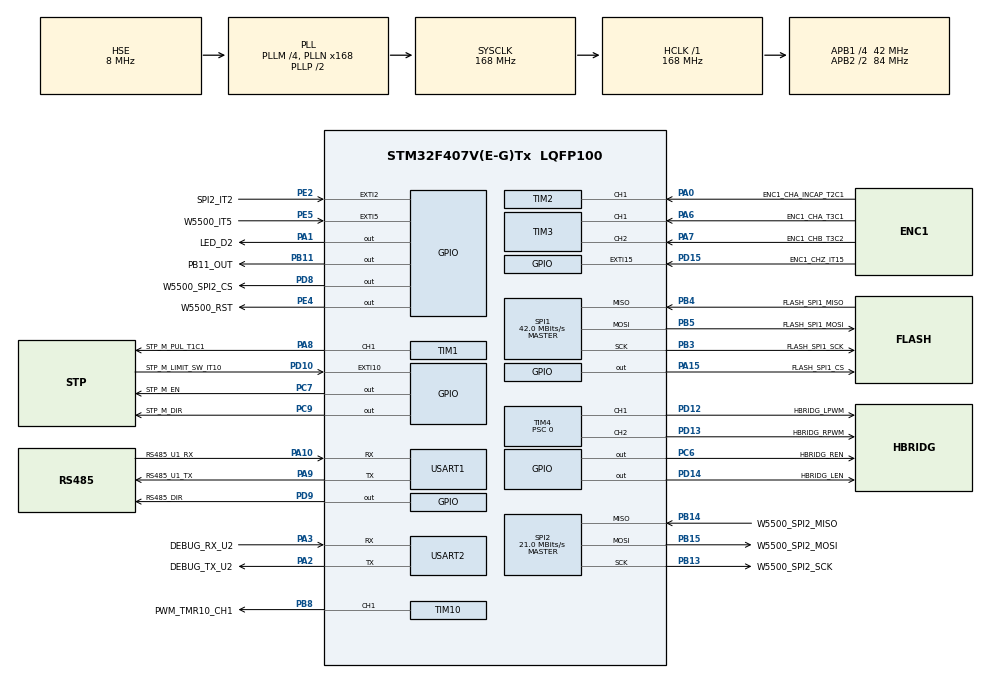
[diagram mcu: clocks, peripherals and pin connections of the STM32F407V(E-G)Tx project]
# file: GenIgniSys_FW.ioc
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Dma.Request0=USART1_RX
Dma.Request1=USART1_TX
Dma.Request2=USART2_RX
Dma.Request3=USART2_TX
Dma.USART1_RX.0.Direction=DMA_PERIPH_TO_MEMORY
Dma.USART1_RX.0.FIFOMode=DMA_FIFOMODE_DISABLE
Dma.USART1_RX.0.Instance=DMA2_Stream2
Dma.USART1_RX.0.MemDataAlignment=DMA_MDATAALIGN_BYTE
Dma.USART1_RX.0.MemInc=DMA_MINC_ENABLE
Dma.USART1_RX.0.Mode=DMA_NORMAL
Dma.USART1_RX.0.PeriphDataAlignment=DMA_PDATAALIGN_BYTE
Dma.USART1_RX.0.PeriphInc=DMA_PINC_DISABLE
Dma.USART1_RX.0.Priority=DMA_PRIORITY_LOW
Dma.USART1_TX.1.Direction=DMA_MEMORY_TO_PERIPH
Dma.USART1_TX.1.FIFOMode=DMA_FIFOMODE_DISABLE
Dma.USART1_TX.1.Instance=DMA2_Stream7
Dma.USART1_TX.1.MemDataAlignment=DMA_MDATAALIGN_BYTE
Dma.USART1_TX.1.MemInc=DMA_MINC_ENABLE
Dma.USART1_TX.1.Mode=DMA_NORMAL
Dma.USART1_TX.1.PeriphDataAlignment=DMA_PDATAALIGN_BYTE
Dma.USART1_TX.1.PeriphInc=DMA_PINC_DISABLE
Dma.USART1_TX.1.Priority=DMA_PRIORITY_LOW
Dma.USART2_RX.2.Direction=DMA_PERIPH_TO_MEMORY
Dma.USART2_RX.2.FIFOMode=DMA_FIFOMODE_DISABLE
Dma.USART2_RX.2.Instance=DMA1_Stream5
Dma.USART2_RX.2.MemDataAlignment=DMA_MDATAALIGN_BYTE
Dma.USART2_RX.2.MemInc=DMA_MINC_ENABLE
Dma.USART2_RX.2.Mode=DMA_NORMAL
Dma.USART2_RX.2.PeriphDataAlignment=DMA_PDATAALIGN_BYTE
Dma.USART2_RX.2.PeriphInc=DMA_PINC_DISABLE
Dma.USART2_RX.2.Priority=DMA_PRIORITY_LOW
Dma.USART2_TX.3.Direction=DMA_MEMORY_TO_PERIPH
Dma.USART2_TX.3.FIFOMode=DMA_FIFOMODE_DISABLE
Dma.USART2_TX.3.Instance=DMA1_Stream6
Dma.USART2_TX.3.MemDataAlignment=DMA_MDATAALIGN_BYTE
Dma.USART2_TX.3.MemInc=DMA_MINC_ENABLE
Dma.USART2_TX.3.Mode=DMA_NORMAL
Dma.USART2_TX.3.PeriphDataAlignment=DMA_PDATAALIGN_BYTE
Dma.USART2_TX.3.PeriphInc=DMA_PINC_DISABLE
Dma.USART2_TX.3.Priority=DMA_PRIORITY_LOW
Mcu.Family=STM32F4
Mcu.Name=STM32F407V(E-G)Tx
Mcu.Package=LQFP100
NVIC.DMA1_Stream5_IRQn=true\:0\:0\:false\:false\:true\:false\:true\:true
NVIC.DMA1_Stream6_IRQn=true\:0\:0\:false\:false\:true\:false\:true\:true
NVIC.DMA2_Stream2_IRQn=true\:0\:0\:false\:false\:true\:false\:true\:true
NVIC.DMA2_Stream7_IRQn=true\:0\:0\:false\:false\:true\:false\:true\:true
NVIC.EXTI15_10_IRQn=true\:3\:0\:true\:false\:true\:true\:true\:true
NVIC.EXTI9_5_IRQn=true\:3\:0\:true\:false\:true\:true\:true\:true
NVIC.PriorityGroup=NVIC_PRIORITYGROUP_4
NVIC.TIM2_IRQn=true\:3\:0\:true\:false\:true\:true\:true\:true
NVIC.TIM8_TRG_COM_TIM14_IRQn=true\:2\:0\:true\:false\:true\:true\:true\:true
NVIC.USART1_IRQn=true\:0\:0\:false\:false\:true\:true\:true\:true
NVIC.USART2_IRQn=true\:2\:0\:true\:false\:true\:true\:true\:true
PA0-WKUP.GPIO_Label=ENC1_CHA_INCAP_T2C1
PA0-WKUP.Signal=S_TIM2_CH1_ETR
PA1.GPIO_Label=LED_D2
PA1.GPIO_Speed=GPIO_SPEED_FREQ_VERY_HIGH
PA1.Signal=GPIO_Output
PA10.GPIO_Label=RS485_U1_RX
PA10.Mode=Asynchronous
PA10.Signal=USART1_RX
PA13.Mode=Serial_Wire
PA13.Signal=SYS_JTMS-SWDIO
PA14.Mode=Serial_Wire
PA14.Signal=SYS_JTCK-SWCLK
PA15.GPIO_Label=FLASH_SPI1_CS
PA15.Signal=GPIO_Output
PA2.GPIO_Label=DEBUG_TX_U2
PA2.Mode=Asynchronous
PA2.Signal=USART2_TX
PA3.GPIO_Label=DEBUG_RX_U2
PA3.Mode=Asynchronous
PA3.Signal=USART2_RX
PA6.GPIO_Label=ENC1_CHA_T3C1
PA6.Signal=S_TIM3_CH1
PA7.GPIO_Label=ENC1_CHB_T3C2
PA7.Signal=S_TIM3_CH2
PA8.GPIO_Label=STP_M_PUL_T1C1
PA8.Signal=S_TIM1_CH1
PA9.GPIO_Label=RS485_U1_TX
PA9.Mode=Asynchronous
PA9.Signal=USART1_TX
PB11.GPIO_Label=PB11_OUT
PB11.GPIO_Speed=GPIO_SPEED_FREQ_HIGH
PB11.Signal=GPIO_Output
PB13.GPIO_Label=W5500_SPI2_SCK
PB13.Mode=Full_Duplex_Master
PB13.Signal=SPI2_SCK
PB14.GPIO_Label=W5500_SPI2_MISO
PB14.Mode=Full_Duplex_Master
PB14.Signal=SPI2_MISO
PB15.GPIO_Label=W5500_SPI2_MOSI
PB15.Mode=Full_Duplex_Master
PB15.Signal=SPI2_MOSI
PB3.GPIO_Label=FLASH_SPI1_SCK
PB3.Mode=Full_Duplex_Master
PB3.Signal=SPI1_SCK
PB4.GPIO_Label=FLASH_SPI1_MISO
PB4.Mode=Full_Duplex_Master
PB4.Signal=SPI1_MISO
PB5.GPIO_Label=FLASH_SPI1_MOSI
PB5.Mode=Full_Duplex_Master
PB5.Signal=SPI1_MOSI
PB8.GPIO_Label=PWM_TMR10_CH1
PB8.Signal=S_TIM10_CH1
PC6.GPIO_Label=HBRIDG_REN
PC6.GPIO_Speed=GPIO_SPEED_FREQ_HIGH
PC6.Signal=GPIO_Output
PC7.GPIO_Label=STP_M_EN
PC7.Signal=GPIO_Output
PC9.GPIO_Label=STP_M_DIR
PC9.Signal=GPIO_Output
PD10.GPIO_Label=STP_M_LIMIT_SW_IT10
PD10.Signal=GPXTI10
PD12.GPIO_Label=HBRIDG_LPWM
PD12.Signal=S_TIM4_CH1
PD13.GPIO_Label=HBRIDG_RPWM
PD13.Signal=S_TIM4_CH2
PD14.GPIO_Label=HBRIDG_LEN
PD14.GPIO_Speed=GPIO_SPEED_FREQ_HIGH
PD14.Signal=GPIO_Output
PD15.GPIO_Label=ENC1_CHZ_IT15
PD15.Signal=GPXTI15
PD8.GPIO_Label=W5500_SPI2_CS
PD8.Signal=GPIO_Output
PD9.GPIO_Label=RS485_DIR
PD9.Signal=GPIO_Output
PE2.GPIO_Label=SPI2_IT2
PE2.Signal=GPXTI2
PE4.GPIO_Label=W5500_RST
PE4.Signal=GPIO_Output
PE5.GPIO_Label=W5500_IT5
PE5.GPIO_ModeDefaultEXTI=GPIO_MODE_IT_RISING_FALLING
PE5.Signal=GPXTI5
PH0-OSC_IN.Mode=HSE-External-Oscillator
PH0-OSC_IN.Signal=RCC_OSC_IN
PH1-OSC_OUT.Mode=HSE-External-Oscillator
PH1-OSC_OUT.Signal=RCC_OSC_OUT
ProjectManager.HeapSize=0x200
ProjectManager.StackSize=0x400
ProjectManager.TargetToolchain=STM32CubeIDE
RCC.48MHZClocksFreq_Value=84000000
RCC.AHBFreq_Value=168000000
RCC.APB1CLKDivider=RCC_HCLK_DIV4
RCC.APB1Freq_Value=42000000
RCC.APB1TimFreq_Value=84000000
RCC.APB2CLKDivider=RCC_HCLK_DIV2
RCC.APB2Freq_Value=84000000
RCC.APB2TimFreq_Value=168000000
RCC.CortexFreq_Value=168000000
RCC.HCLKFreq_Value=168000000
RCC.HSE_VALUE=8000000
RCC.HSI_VALUE=16000000
RCC.LSE_VALUE=32768
RCC.PLLM=4
RCC.PLLN=168
RCC.PLLSourceVirtual=RCC_PLLSOURCE_HSE
RCC.SYSCLKFreq_VALUE=168000000
RCC.SYSCLKSource=RCC_SYSCLKSOURCE_PLLCLK
RCC.VCOOutputFreq_Value=336000000
SH.S_TIM10_CH1.0=TIM10_CH1,PWM Generation1 CH1
SH.S_TIM1_CH1.0=TIM1_CH1,PWM Generation1 CH1
SH.S_TIM2_CH1_ETR.0=TIM2_CH1,Input_Capture1_from_TI1
SH.S_TIM3_CH1.0=TIM3_CH1,Encoder_Interface
SH.S_TIM3_CH2.0=TIM3_CH2,Encoder_Interface
SH.S_TIM4_CH1.0=TIM4_CH1,PWM Generation1 CH1
SH.S_TIM4_CH2.0=TIM4_CH2,PWM Generation2 CH2
SPI1.CalculateBaudRate=42.0 MBits/s
SPI1.Direction=SPI_DIRECTION_2LINES
SPI1.Mode=SPI_MODE_MASTER
SPI1.VirtualType=VM_MASTER
SPI2.CalculateBaudRate=21.0 MBits/s
SPI2.Direction=SPI_DIRECTION_2LINES
SPI2.Mode=SPI_MODE_MASTER
SPI2.VirtualType=VM_MASTER
TIM1.Channel-PWM\ Generation1\ CH1=TIM_CHANNEL_1
TIM1.OCIdleState_1=TIM_OCIDLESTATE_SET
TIM1.Period=0
TIM1.Prescaler=25-1
TIM1.Pulse-PWM\ Generation1\ CH1=0
TIM1.TIM_MasterOutputTrigger=TIM_TRGO_ENABLE
TIM10.Channel=TIM_CHANNEL_1
TIM14.AutoReloadPreload=TIM_AUTORELOAD_PRELOAD_ENABLE
TIM14.Prescaler=84-1
TIM2.AutoReloadPreload=TIM_AUTORELOAD_PRELOAD_ENABLE
TIM2.Channel-Input_Capture1_from_TI1=TIM_CHANNEL_1
TIM2.Period=1000000
TIM2.Prescaler=84-1
TIM2.TIM_MasterOutputTrigger=TIM_TRGO_ENABLE
TIM3.AutoReloadPreload=TIM_AUTORELOAD_PRELOAD_ENABLE
TIM3.EncoderMode=TIM_ENCODERMODE_TI12
TIM3.TIM_MasterOutputTrigger=TIM_TRGO_ENABLE
TIM4.AutoReloadPreload=TIM_AUTORELOAD_PRELOAD_DISABLE
TIM4.Channel-PWM\ Generation1\ CH1=TIM_CHANNEL_1
TIM4.Channel-PWM\ Generation2\ CH2=TIM_CHANNEL_2
TIM4.Period=8400-1
TIM4.Prescaler=0
TIM4.TIM_MasterOutputTrigger=TIM_TRGO_ENABLE
USART1.VirtualMode=VM_ASYNC
USART2.VirtualMode=VM_ASYNC
VP_TIM10_VS_ClockSourceINT.Mode=Enable_Timer
VP_TIM14_VS_ClockSourceINT.Mode=Enable_Timer
VP_TIM1_VS_ClockSourceINT.Mode=Internal
VP_TIM2_VS_ClockSourceINT.Mode=Internal
VP_TIM4_VS_ClockSourceINT.Mode=Internal
board=custom

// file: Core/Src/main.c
/* USER CODE BEGIN Header */
/**
  ******************************************************************************
  * @file           : main.c
  * @brief          : Main program body
  ******************************************************************************
  * @attention
  *
  * Copyright (c) 2025 STMicroelectronics.
  * All rights reserved.
  *
  * This software is licensed under terms that can be found in the LICENSE file
  * in the root directory of this software component.
  * If no LICENSE file comes with this software, it is provided AS-IS.
  *
  ******************************************************************************
  */
/* USER CODE END Header */
#include "main.h"

/* USER CODE BEGIN Includes */
#include "app_main.h"
#include "debug.h"
#include "TimeStamp/TimeStamp.h"

#include "datalink.h"

#include "w5500_spi_handler.h"
#include "wizchip_conf.h"
#include "w5500.h"

#include "rs485_handler.h"
#include "modbus.h"

#include "modbus_uart_manager.h"
#include "modbus_tcp_manager.h"
#include "Registers.h"
#include "modbus_tcp_driver.h"
#include "w25qxx_flash.h"
#include "flash_addrs.h"

/* USER CODE END Includes */

SPI_HandleTypeDef hspi1;
SPI_HandleTypeDef hspi2;

TIM_HandleTypeDef htim1;
TIM_HandleTypeDef htim2;
TIM_HandleTypeDef htim3;
TIM_HandleTypeDef htim4;
TIM_HandleTypeDef htim10;
TIM_HandleTypeDef htim14;

UART_HandleTypeDef huart1;
UART_HandleTypeDef huart2;
DMA_HandleTypeDef hdma_usart1_rx;
DMA_HandleTypeDef hdma_usart1_tx;
DMA_HandleTypeDef hdma_usart2_rx;
DMA_HandleTypeDef hdma_usart2_tx;

/* USER CODE BEGIN PV */
extern GlobalVar_ts gv;
/* USER CODE END PV */

void SystemClock_Config(void);
static void MX_GPIO_Init(void);
static void MX_DMA_Init(void);
static void MX_USART2_UART_Init(void);
static void MX_TIM1_Init(void);
static void MX_TIM2_Init(void);
static void MX_TIM14_Init(void);
static void MX_SPI2_Init(void);
static void MX_USART1_UART_Init(void);
static void MX_TIM3_Init(void);
static void MX_TIM4_Init(void);
static void MX_SPI1_Init(void);
static void MX_TIM10_Init(void);

/* USER CODE BEGIN 0 */
/*------- config the printf() function tx the data to rs232 serial port start---------*/
//#ifdef __GNUC__
//#define PUTCHAR_PROTOTYPE int __io_putchar(int ch)
//#else
//#define PUTCHAR_PROTOTYPE int fputc(int ch, FILE *f)
//#endif
//
//PUTCHAR_PROTOTYPE
//{
//  HAL_UART_Transmit(&huart2, (uint8_t *)&ch, 1, HAL_MAX_DELAY);
//  return ch;
//}

/* USER CODE END 0 */

int main(void)
{

  /* USER CODE BEGIN 1 */
//	 SCB->VTOR = 0x08004000;
  /* USER CODE END 1 */

  /* MCU Configuration--------------------------------------------------------*/

  /* Reset of all peripherals, Initializes the Flash interface and the Systick. */
  HAL_Init();

  /* Configure the system clock */
  SystemClock_Config();

  /* Initialize all configured peripherals */
  MX_GPIO_Init();
  MX_DMA_Init();
  MX_USART2_UART_Init();
  MX_TIM1_Init();
  MX_TIM2_Init();
  MX_TIM14_Init();
  MX_SPI2_Init();
  MX_USART1_UART_Init();
  MX_TIM3_Init();
  MX_TIM4_Init();
  MX_SPI1_Init();
  MX_TIM10_Init();
  /* USER CODE BEGIN 2 */

   APP_Init();
//   dbg_print("htim14_Prescaler:%ld \r\n",htim14.Init.Prescaler);
//   TS_Init();

//   HAL_TIM_Base_Start(&htim4);
//   HAL_TIM_PWM_Start(&htim4, TIM_CHANNEL_1);

//	static FLASH_EraseInitTypeDef flasEraseInit;
//	uint32_t pageError;
//	HAL_FLASH_Unlock();
//	if(HAL_FLASHEx_Erase(&flasEraseInit, &pageError) != HAL_OK){
//		//return HAL_FLASH_GetError();
//	}
//	HAL_FLASH_Lock();

//   uint32_t address = 1;//0x8030000;
//   uint32_t data = 0x00AF;
//   HAL_FLASH_Program(FLASH_TYPEPROGRAM_WORD, address, data);
//   FS_WriteIntNum(1, data);
//   FS_UpdateFlash();
//   data = 0;
  /* USER CODE END 2 */

  /* Infinite loop */
  /* USER CODE BEGIN WHILE */
  while (1)
  {

	  static uint32_t tick1 = 0;
	  if((HAL_GetTick() - tick1)>= 1000){
		  tick1 = HAL_GetTick();
//		  FS_UpdateBuffer();
//		  data = FS_ReadIntNum(address);//*(__IO uint32_t *)address;
//		  dbg_print("data: 0x%X\r\n",data);
		  HAL_GPIO_TogglePin(LED_D2_GPIO_Port, LED_D2_Pin);
	  }

	  APP_Main();
	  Modbus_TCP_Handler_Loop();

    /* USER CODE END WHILE */

  }
}

void SystemClock_Config(void)
{
  RCC_OscInitTypeDef RCC_OscInitStruct = {0};
  RCC_ClkInitTypeDef RCC_ClkInitStruct = {0};

  /** Configure the main internal regulator output voltage
  */
  __HAL_RCC_PWR_CLK_ENABLE();
  __HAL_PWR_VOLTAGESCALING_CONFIG(PWR_REGULATOR_VOLTAGE_SCALE1);

  /** Initializes the RCC Oscillators according to the specified parameters
  * in the RCC_OscInitTypeDef structure.
  */
  RCC_OscInitStruct.OscillatorType = RCC_OSCILLATORTYPE_HSE;
  RCC_OscInitStruct.HSEState = RCC_HSE_ON;
  RCC_OscInitStruct.PLL.PLLState = RCC_PLL_ON;
  RCC_OscInitStruct.PLL.PLLSource = RCC_PLLSOURCE_HSE;
  RCC_OscInitStruct.PLL.PLLM = 4;
  RCC_OscInitStruct.PLL.PLLN = 168;
  RCC_OscInitStruct.PLL.PLLP = RCC_PLLP_DIV2;
  RCC_OscInitStruct.PLL.PLLQ = 4;
  if (HAL_RCC_OscConfig(&RCC_OscInitStruct) != HAL_OK)
  {
    Error_Handler();
  }

  /** Initializes the CPU, AHB and APB buses clocks
  */
  RCC_ClkInitStruct.ClockType = RCC_CLOCKTYPE_HCLK|RCC_CLOCKTYPE_SYSCLK
                              |RCC_CLOCKTYPE_PCLK1|RCC_CLOCKTYPE_PCLK2;
  RCC_ClkInitStruct.SYSCLKSource = RCC_SYSCLKSOURCE_PLLCLK;
  RCC_ClkInitStruct.AHBCLKDivider = RCC_SYSCLK_DIV1;
  RCC_ClkInitStruct.APB1CLKDivider = RCC_HCLK_DIV4;
  RCC_ClkInitStruct.APB2CLKDivider = RCC_HCLK_DIV2;

  if (HAL_RCC_ClockConfig(&RCC_ClkInitStruct, FLASH_LATENCY_5) != HAL_OK)
  {
    Error_Handler();
  }
}

static void MX_SPI1_Init(void)
{

  /* SPI1 parameter configuration*/
  hspi1.Instance = SPI1;
  hspi1.Init.Mode = SPI_MODE_MASTER;
  hspi1.Init.Direction = SPI_DIRECTION_2LINES;
  hspi1.Init.DataSize = SPI_DATASIZE_8BIT;
  hspi1.Init.CLKPolarity = SPI_POLARITY_LOW;
  hspi1.Init.CLKPhase = SPI_PHASE_1EDGE;
  hspi1.Init.NSS = SPI_NSS_SOFT;
  hspi1.Init.BaudRatePrescaler = SPI_BAUDRATEPRESCALER_2;
  hspi1.Init.FirstBit = SPI_FIRSTBIT_MSB;
  hspi1.Init.TIMode = SPI_TIMODE_DISABLE;
  hspi1.Init.CRCCalculation = SPI_CRCCALCULATION_DISABLE;
  hspi1.Init.CRCPolynomial = 10;
  if (HAL_SPI_Init(&hspi1) != HAL_OK)
  {
    Error_Handler();
  }

}

static void MX_SPI2_Init(void)
{

  /* SPI2 parameter configuration*/
  hspi2.Instance = SPI2;
  hspi2.Init.Mode = SPI_MODE_MASTER;
  hspi2.Init.Direction = SPI_DIRECTION_2LINES;
  hspi2.Init.DataSize = SPI_DATASIZE_8BIT;
  hspi2.Init.CLKPolarity = SPI_POLARITY_LOW;
  hspi2.Init.CLKPhase = SPI_PHASE_1EDGE;
  hspi2.Init.NSS = SPI_NSS_SOFT;
  hspi2.Init.BaudRatePrescaler = SPI_BAUDRATEPRESCALER_2;
  hspi2.Init.FirstBit = SPI_FIRSTBIT_MSB;
  hspi2.Init.TIMode = SPI_TIMODE_DISABLE;
  hspi2.Init.CRCCalculation = SPI_CRCCALCULATION_DISABLE;
  hspi2.Init.CRCPolynomial = 10;
  if (HAL_SPI_Init(&hspi2) != HAL_OK)
  {
    Error_Handler();
  }

}

static void MX_TIM1_Init(void)
{

  /* USER CODE BEGIN TIM1_Init 0 */
#define USE_USER_DEFINE_TIM_CONFIG
  /* USER CODE END TIM1_Init 0 */

  TIM_ClockConfigTypeDef sClockSourceConfig = {0};
  TIM_MasterConfigTypeDef sMasterConfig = {0};
  TIM_OC_InitTypeDef sConfigOC = {0};
  TIM_BreakDeadTimeConfigTypeDef sBreakDeadTimeConfig = {0};

  /* USER CODE BEGIN TIM1_Init 1 */
#ifndef USE_USER_DEFINE_TIM_CONFIG
  /* USER CODE END TIM1_Init 1 */
  htim1.Instance = TIM1;
  htim1.Init.Prescaler = 25-1;
  htim1.Init.CounterMode = TIM_COUNTERMODE_UP;
  htim1.Init.Period = 0;
  htim1.Init.ClockDivision = TIM_CLOCKDIVISION_DIV1;
  htim1.Init.RepetitionCounter = 0;
  htim1.Init.AutoReloadPreload = TIM_AUTORELOAD_PRELOAD_DISABLE;
  if (HAL_TIM_Base_Init(&htim1) != HAL_OK)
  {
    Error_Handler();
  }
  sClockSourceConfig.ClockSource = TIM_CLOCKSOURCE_INTERNAL;
  if (HAL_TIM_ConfigClockSource(&htim1, &sClockSourceConfig) != HAL_OK)
  {
    Error_Handler();
  }
  if (HAL_TIM_PWM_Init(&htim1) != HAL_OK)
  {
    Error_Handler();
  }
  sMasterConfig.MasterOutputTrigger = TIM_TRGO_ENABLE;
  sMasterConfig.MasterSlaveMode = TIM_MASTERSLAVEMODE_DISABLE;
  if (HAL_TIMEx_MasterConfigSynchronization(&htim1, &sMasterConfig) != HAL_OK)
  {
    Error_Handler();
  }
  sConfigOC.OCMode = TIM_OCMODE_PWM1;
  sConfigOC.Pulse = 0;
  sConfigOC.OCPolarity = TIM_OCPOLARITY_HIGH;
  sConfigOC.OCNPolarity = TIM_OCNPOLARITY_HIGH;
  sConfigOC.OCFastMode = TIM_OCFAST_DISABLE;
  sConfigOC.OCIdleState = TIM_OCIDLESTATE_SET;
  sConfigOC.OCNIdleState = TIM_OCNIDLESTATE_RESET;
  if (HAL_TIM_PWM_ConfigChannel(&htim1, &sConfigOC, TIM_CHANNEL_1) != HAL_OK)
  {
    Error_Handler();
  }
  sBreakDeadTimeConfig.OffStateRunMode = TIM_OSSR_DISABLE;
  sBreakDeadTimeConfig.OffStateIDLEMode = TIM_OSSI_DISABLE;
  sBreakDeadTimeConfig.LockLevel = TIM_LOCKLEVEL_OFF;
  sBreakDeadTimeConfig.DeadTime = 0;
  sBreakDeadTimeConfig.BreakState = TIM_BREAK_DISABLE;
  sBreakDeadTimeConfig.BreakPolarity = TIM_BREAKPOLARITY_HIGH;
  sBreakDeadTimeConfig.AutomaticOutput = TIM_AUTOMATICOUTPUT_DISABLE;
  if (HAL_TIMEx_ConfigBreakDeadTime(&htim1, &sBreakDeadTimeConfig) != HAL_OK)
  {
    Error_Handler();
  }
  /* USER CODE BEGIN TIM1_Init 2 */
#else
  htim1.Instance = TIM1;
  htim1.Init.Prescaler = 25-1;
  htim1.Init.CounterMode = TIM_COUNTERMODE_UP;
  htim1.Init.Period = 1000;
  htim1.Init.ClockDivision = TIM_CLOCKDIVISION_DIV1;
  htim1.Init.RepetitionCounter = 0;
  htim1.Init.AutoReloadPreload = TIM_AUTORELOAD_PRELOAD_DISABLE;
  if (HAL_TIM_Base_Init(&htim1) != HAL_OK)
  {
    Error_Handler();
  }
  sClockSourceConfig.ClockSource = TIM_CLOCKSOURCE_INTERNAL;
  if (HAL_TIM_ConfigClockSource(&htim1, &sClockSourceConfig) != HAL_OK)
  {
    Error_Handler();
  }
  if (HAL_TIM_PWM_Init(&htim1) != HAL_OK)
  {
    Error_Handler();
  }
  sMasterConfig.MasterOutputTrigger = TIM_TRGO_ENABLE;
  sMasterConfig.MasterSlaveMode = TIM_MASTERSLAVEMODE_DISABLE;
  if (HAL_TIMEx_MasterConfigSynchronization(&htim1, &sMasterConfig) != HAL_OK)
  {
    Error_Handler();
  }
  sConfigOC.OCMode = TIM_OCMODE_PWM1;
  sConfigOC.Pulse = htim1.Init.Period/2;
  sConfigOC.OCPolarity = TIM_OCPOLARITY_HIGH;
  sConfigOC.OCNPolarity = TIM_OCNPOLARITY_HIGH;
  sConfigOC.OCFastMode = TIM_OCFAST_DISABLE;
  sConfigOC.OCIdleState = TIM_OCIDLESTATE_SET;
  sConfigOC.OCNIdleState = TIM_OCNIDLESTATE_RESET;
  if (HAL_TIM_PWM_ConfigChannel(&htim1, &sConfigOC, TIM_CHANNEL_1) != HAL_OK)
  {
    Error_Handler();
  }
  if (HAL_TIM_PWM_ConfigChannel(&htim1, &sConfigOC, TIM_CHANNEL_2) != HAL_OK)
  {
    Error_Handler();
  }
  sConfigOC.OCIdleState = TIM_OCIDLESTATE_RESET;
  if (HAL_TIM_PWM_ConfigChannel(&htim1, &sConfigOC, TIM_CHANNEL_3) != HAL_OK)
  {
    Error_Handler();
  }
  if (HAL_TIM_PWM_ConfigChannel(&htim1, &sConfigOC, TIM_CHANNEL_4) != HAL_OK)
  {
    Error_Handler();
  }
  sBreakDeadTimeConfig.OffStateRunMode = TIM_OSSR_DISABLE;
  sBreakDeadTimeConfig.OffStateIDLEMode = TIM_OSSI_DISABLE;
  sBreakDeadTimeConfig.LockLevel = TIM_LOCKLEVEL_OFF;
  sBreakDeadTimeConfig.DeadTime = 0;
  sBreakDeadTimeConfig.BreakState = TIM_BREAK_DISABLE;
  sBreakDeadTimeConfig.BreakPolarity = TIM_BREAKPOLARITY_HIGH;
  sBreakDeadTimeConfig.AutomaticOutput = TIM_AUTOMATICOUTPUT_DISABLE;
  if (HAL_TIMEx_ConfigBreakDeadTime(&htim1, &sBreakDeadTimeConfig) != HAL_OK)
  {
    Error_Handler();
  }
#endif
//  gv.stpMotDrv.config.ocConfig =  &sConfigOC;
  /* USER CODE END TIM1_Init 2 */
  HAL_TIM_MspPostInit(&htim1);

}

static void MX_TIM2_Init(void)
{

  TIM_ClockConfigTypeDef sClockSourceConfig = {0};
  TIM_MasterConfigTypeDef sMasterConfig = {0};
  TIM_IC_InitTypeDef sConfigIC = {0};

  htim2.Instance = TIM2;
  htim2.Init.Prescaler = 84-1;
  htim2.Init.CounterMode = TIM_COUNTERMODE_UP;
  htim2.Init.Period = 1000000;
  htim2.Init.ClockDivision = TIM_CLOCKDIVISION_DIV1;
  htim2.Init.AutoReloadPreload = TIM_AUTORELOAD_PRELOAD_ENABLE;
  if (HAL_TIM_Base_Init(&htim2) != HAL_OK)
  {
    Error_Handler();
  }
  sClockSourceConfig.ClockSource = TIM_CLOCKSOURCE_INTERNAL;
  if (HAL_TIM_ConfigClockSource(&htim2, &sClockSourceConfig) != HAL_OK)
  {
    Error_Handler();
  }
  if (HAL_TIM_IC_Init(&htim2) != HAL_OK)
  {
    Error_Handler();
  }
  sMasterConfig.MasterOutputTrigger = TIM_TRGO_ENABLE;
  sMasterConfig.MasterSlaveMode = TIM_MASTERSLAVEMODE_DISABLE;
  if (HAL_TIMEx_MasterConfigSynchronization(&htim2, &sMasterConfig) != HAL_OK)
  {
    Error_Handler();
  }
  sConfigIC.ICPolarity = TIM_INPUTCHANNELPOLARITY_RISING;
  sConfigIC.ICSelection = TIM_ICSELECTION_DIRECTTI;
  sConfigIC.ICPrescaler = TIM_ICPSC_DIV1;
  sConfigIC.ICFilter = 0;
  if (HAL_TIM_IC_ConfigChannel(&htim2, &sConfigIC, TIM_CHANNEL_1) != HAL_OK)
  {
    Error_Handler();
  }

}

static void MX_TIM3_Init(void)
{

  TIM_Encoder_InitTypeDef sConfig = {0};
  TIM_MasterConfigTypeDef sMasterConfig = {0};

  htim3.Instance = TIM3;
  htim3.Init.Prescaler = 0;
  htim3.Init.CounterMode = TIM_COUNTERMODE_UP;
  htim3.Init.Period = 65535;
  htim3.Init.ClockDivision = TIM_CLOCKDIVISION_DIV1;
  htim3.Init.AutoReloadPreload = TIM_AUTORELOAD_PRELOAD_ENABLE;
  sConfig.EncoderMode = TIM_ENCODERMODE_TI12;
  sConfig.IC1Polarity = TIM_ICPOLARITY_RISING;
  sConfig.IC1Selection = TIM_ICSELECTION_DIRECTTI;
  sConfig.IC1Prescaler = TIM_ICPSC_DIV1;
  sConfig.IC1Filter = 0;
  sConfig.IC2Polarity = TIM_ICPOLARITY_RISING;
  sConfig.IC2Selection = TIM_ICSELECTION_DIRECTTI;
  sConfig.IC2Prescaler = TIM_ICPSC_DIV1;
  sConfig.IC2Filter = 0;
  if (HAL_TIM_Encoder_Init(&htim3, &sConfig) != HAL_OK)
  {
    Error_Handler();
  }
  sMasterConfig.MasterOutputTrigger = TIM_TRGO_ENABLE;
  sMasterConfig.MasterSlaveMode = TIM_MASTERSLAVEMODE_DISABLE;
  if (HAL_TIMEx_MasterConfigSynchronization(&htim3, &sMasterConfig) != HAL_OK)
  {
    Error_Handler();
  }

}

static void MX_TIM4_Init(void)
{

  TIM_ClockConfigTypeDef sClockSourceConfig = {0};
  TIM_MasterConfigTypeDef sMasterConfig = {0};
  TIM_OC_InitTypeDef sConfigOC = {0};

  htim4.Instance = TIM4;
  htim4.Init.Prescaler = 0;
  htim4.Init.CounterMode = TIM_COUNTERMODE_UP;
  htim4.Init.Period = 8400-1;
  htim4.Init.ClockDivision = TIM_CLOCKDIVISION_DIV1;
  htim4.Init.AutoReloadPreload = TIM_AUTORELOAD_PRELOAD_DISABLE;
  if (HAL_TIM_Base_Init(&htim4) != HAL_OK)
  {
    Error_Handler();
  }
  sClockSourceConfig.ClockSource = TIM_CLOCKSOURCE_INTERNAL;
  if (HAL_TIM_ConfigClockSource(&htim4, &sClockSourceConfig) != HAL_OK)
  {
    Error_Handler();
  }
  if (HAL_TIM_PWM_Init(&htim4) != HAL_OK)
  {
    Error_Handler();
  }
  sMasterConfig.MasterOutputTrigger = TIM_TRGO_ENABLE;
  sMasterConfig.MasterSlaveMode = TIM_MASTERSLAVEMODE_DISABLE;
  if (HAL_TIMEx_MasterConfigSynchronization(&htim4, &sMasterConfig) != HAL_OK)
  {
    Error_Handler();
  }
  sConfigOC.OCMode = TIM_OCMODE_PWM1;
  sConfigOC.Pulse = 0;
  sConfigOC.OCPolarity = TIM_OCPOLARITY_HIGH;
  sConfigOC.OCFastMode = TIM_OCFAST_DISABLE;
  if (HAL_TIM_PWM_ConfigChannel(&htim4, &sConfigOC, TIM_CHANNEL_1) != HAL_OK)
  {
    Error_Handler();
  }
  if (HAL_TIM_PWM_ConfigChannel(&htim4, &sConfigOC, TIM_CHANNEL_2) != HAL_OK)
  {
    Error_Handler();
  }
  HAL_TIM_MspPostInit(&htim4);

}

static void MX_TIM10_Init(void)
{

  TIM_OC_InitTypeDef sConfigOC = {0};

  htim10.Instance = TIM10;
  htim10.Init.Prescaler = 0;
  htim10.Init.CounterMode = TIM_COUNTERMODE_UP;
  htim10.Init.Period = 65535;
  htim10.Init.ClockDivision = TIM_CLOCKDIVISION_DIV1;
  htim10.Init.AutoReloadPreload = TIM_AUTORELOAD_PRELOAD_DISABLE;
  if (HAL_TIM_Base_Init(&htim10) != HAL_OK)
  {
    Error_Handler();
  }
  if (HAL_TIM_PWM_Init(&htim10) != HAL_OK)
  {
    Error_Handler();
  }
  sConfigOC.OCMode = TIM_OCMODE_PWM1;
  sConfigOC.Pulse = 0;
  sConfigOC.OCPolarity = TIM_OCPOLARITY_HIGH;
  sConfigOC.OCFastMode = TIM_OCFAST_DISABLE;
  if (HAL_TIM_PWM_ConfigChannel(&htim10, &sConfigOC, TIM_CHANNEL_1) != HAL_OK)
  {
    Error_Handler();
  }
  HAL_TIM_MspPostInit(&htim10);

}

static void MX_TIM14_Init(void)
{

  htim14.Instance = TIM14;
  htim14.Init.Prescaler = 84-1;
  htim14.Init.CounterMode = TIM_COUNTERMODE_UP;
  htim14.Init.Period = 65535;
  htim14.Init.ClockDivision = TIM_CLOCKDIVISION_DIV1;
  htim14.Init.AutoReloadPreload = TIM_AUTORELOAD_PRELOAD_ENABLE;
  if (HAL_TIM_Base_Init(&htim14) != HAL_OK)
  {
    Error_Handler();
  }

}

static void MX_USART1_UART_Init(void)
{

  huart1.Instance = USART1;
  huart1.Init.BaudRate = 115200;
  huart1.Init.WordLength = UART_WORDLENGTH_8B;
  huart1.Init.StopBits = UART_STOPBITS_1;
  huart1.Init.Parity = UART_PARITY_NONE;
  huart1.Init.Mode = UART_MODE_TX_RX;
  huart1.Init.HwFlowCtl = UART_HWCONTROL_NONE;
  huart1.Init.OverSampling = UART_OVERSAMPLING_16;
  if (HAL_UART_Init(&huart1) != HAL_OK)
  {
    Error_Handler();
  }

}

static void MX_USART2_UART_Init(void)
{

  huart2.Instance = USART2;
  huart2.Init.BaudRate = 115200;
  huart2.Init.WordLength = UART_WORDLENGTH_8B;
  huart2.Init.StopBits = UART_STOPBITS_1;
  huart2.Init.Parity = UART_PARITY_NONE;
  huart2.Init.Mode = UART_MODE_TX_RX;
  huart2.Init.HwFlowCtl = UART_HWCONTROL_NONE;
  huart2.Init.OverSampling = UART_OVERSAMPLING_16;
  if (HAL_UART_Init(&huart2) != HAL_OK)
  {
    Error_Handler();
  }

}

static void MX_DMA_Init(void)
{

  /* DMA controller clock enable */
  __HAL_RCC_DMA2_CLK_ENABLE();
  __HAL_RCC_DMA1_CLK_ENABLE();

  /* DMA interrupt init */
  /* DMA1_Stream5_IRQn interrupt configuration */
  HAL_NVIC_SetPriority(DMA1_Stream5_IRQn, 0, 0);
  HAL_NVIC_EnableIRQ(DMA1_Stream5_IRQn);
  /* DMA1_Stream6_IRQn interrupt configuration */
  HAL_NVIC_SetPriority(DMA1_Stream6_IRQn, 0, 0);
  HAL_NVIC_EnableIRQ(DMA1_Stream6_IRQn);
  /* DMA2_Stream2_IRQn interrupt configuration */
  HAL_NVIC_SetPriority(DMA2_Stream2_IRQn, 0, 0);
  HAL_NVIC_EnableIRQ(DMA2_Stream2_IRQn);
  /* DMA2_Stream7_IRQn interrupt configuration */
  HAL_NVIC_SetPriority(DMA2_Stream7_IRQn, 0, 0);
  HAL_NVIC_EnableIRQ(DMA2_Stream7_IRQn);

}

static void MX_GPIO_Init(void)
{
  GPIO_InitTypeDef GPIO_InitStruct = {0};

  /* GPIO Ports Clock Enable */
  __HAL_RCC_GPIOE_CLK_ENABLE();
  __HAL_RCC_GPIOH_CLK_ENABLE();
  __HAL_RCC_GPIOA_CLK_ENABLE();
  __HAL_RCC_GPIOB_CLK_ENABLE();
  __HAL_RCC_GPIOD_CLK_ENABLE();
  __HAL_RCC_GPIOC_CLK_ENABLE();

  /*Configure GPIO pin Output Level */
  HAL_GPIO_WritePin(W5500_RST_GPIO_Port, W5500_RST_Pin, GPIO_PIN_RESET);

  /*Configure GPIO pin Output Level */
  HAL_GPIO_WritePin(GPIOA, LED_D2_Pin|FLASH_SPI1_CS_Pin, GPIO_PIN_RESET);

  /*Configure GPIO pin Output Level */
  HAL_GPIO_WritePin(PB11_OUT_GPIO_Port, PB11_OUT_Pin, GPIO_PIN_RESET);

  /*Configure GPIO pin Output Level */
  HAL_GPIO_WritePin(GPIOD, W5500_SPI2_CS_Pin|RS485_DIR_Pin|HBRIDG_LEN_Pin, GPIO_PIN_RESET);

  /*Configure GPIO pin Output Level */
  HAL_GPIO_WritePin(GPIOC, HBRIDG_REN_Pin|STP_M_EN_Pin|STP_M_DIR_Pin, GPIO_PIN_RESET);

  /*Configure GPIO pin : SPI2_IT2_Pin */
  GPIO_InitStruct.Pin = SPI2_IT2_Pin;
  GPIO_InitStruct.Mode = GPIO_MODE_IT_RISING;
  GPIO_InitStruct.Pull = GPIO_NOPULL;
  HAL_GPIO_Init(SPI2_IT2_GPIO_Port, &GPIO_InitStruct);

  /*Configure GPIO pin : W5500_RST_Pin */
  GPIO_InitStruct.Pin = W5500_RST_Pin;
  GPIO_InitStruct.Mode = GPIO_MODE_OUTPUT_PP;
  GPIO_InitStruct.Pull = GPIO_NOPULL;
  GPIO_InitStruct.Speed = GPIO_SPEED_FREQ_LOW;
  HAL_GPIO_Init(W5500_RST_GPIO_Port, &GPIO_InitStruct);

  /*Configure GPIO pin : W5500_IT5_Pin */
  GPIO_InitStruct.Pin = W5500_IT5_Pin;
  GPIO_InitStruct.Mode = GPIO_MODE_IT_RISING_FALLING;
  GPIO_InitStruct.Pull = GPIO_NOPULL;
  HAL_GPIO_Init(W5500_IT5_GPIO_Port, &GPIO_InitStruct);

  /*Configure GPIO pin : LED_D2_Pin */
  GPIO_InitStruct.Pin = LED_D2_Pin;
  GPIO_InitStruct.Mode = GPIO_MODE_OUTPUT_PP;
  GPIO_InitStruct.Pull = GPIO_NOPULL;
  GPIO_InitStruct.Speed = GPIO_SPEED_FREQ_VERY_HIGH;
  HAL_GPIO_Init(LED_D2_GPIO_Port, &GPIO_InitStruct);

  /*Configure GPIO pin : PB11_OUT_Pin */
  GPIO_InitStruct.Pin = PB11_OUT_Pin;
  GPIO_InitStruct.Mode = GPIO_MODE_OUTPUT_PP;
  GPIO_InitStruct.Pull = GPIO_NOPULL;
  GPIO_InitStruct.Speed = GPIO_SPEED_FREQ_HIGH;
  HAL_GPIO_Init(PB11_OUT_GPIO_Port, &GPIO_InitStruct);

  /*Configure GPIO pins : W5500_SPI2_CS_Pin RS485_DIR_Pin */
  GPIO_InitStruct.Pin = W5500_SPI2_CS_Pin|RS485_DIR_Pin;
  GPIO_InitStruct.Mode = GPIO_MODE_OUTPUT_PP;
  GPIO_InitStruct.Pull = GPIO_NOPULL;
  GPIO_InitStruct.Speed = GPIO_SPEED_FREQ_LOW;
  HAL_GPIO_Init(GPIOD, &GPIO_InitStruct);

  /*Configure GPIO pins : STP_M_LIMIT_SW_IT10_Pin ENC1_CHZ_IT15_Pin */
  GPIO_InitStruct.Pin = STP_M_LIMIT_SW_IT10_Pin|ENC1_CHZ_IT15_Pin;
  GPIO_InitStruct.Mode = GPIO_MODE_IT_RISING;
  GPIO_InitStruct.Pull = GPIO_NOPULL;
  HAL_GPIO_Init(GPIOD, &GPIO_InitStruct);

  /*Configure GPIO pin : HBRIDG_LEN_Pin */
  GPIO_InitStruct.Pin = HBRIDG_LEN_Pin;
  GPIO_InitStruct.Mode = GPIO_MODE_OUTPUT_PP;
  GPIO_InitStruct.Pull = GPIO_NOPULL;
  GPIO_InitStruct.Speed = GPIO_SPEED_FREQ_HIGH;
  HAL_GPIO_Init(HBRIDG_LEN_GPIO_Port, &GPIO_InitStruct);

  /*Configure GPIO pin : HBRIDG_REN_Pin */
  GPIO_InitStruct.Pin = HBRIDG_REN_Pin;
  GPIO_InitStruct.Mode = GPIO_MODE_OUTPUT_PP;
  GPIO_InitStruct.Pull = GPIO_NOPULL;
  GPIO_InitStruct.Speed = GPIO_SPEED_FREQ_HIGH;
  HAL_GPIO_Init(HBRIDG_REN_GPIO_Port, &GPIO_InitStruct);

  /*Configure GPIO pins : STP_M_EN_Pin STP_M_DIR_Pin */
  GPIO_InitStruct.Pin = STP_M_EN_Pin|STP_M_DIR_Pin;
  GPIO_InitStruct.Mode = GPIO_MODE_OUTPUT_PP;
  GPIO_InitStruct.Pull = GPIO_NOPULL;
  GPIO_InitStruct.Speed = GPIO_SPEED_FREQ_LOW;
  HAL_GPIO_Init(GPIOC, &GPIO_InitStruct);

  /*Configure GPIO pin : FLASH_SPI1_CS_Pin */
  GPIO_InitStruct.Pin = FLASH_SPI1_CS_Pin;
  GPIO_InitStruct.Mode = GPIO_MODE_OUTPUT_PP;
  GPIO_InitStruct.Pull = GPIO_NOPULL;
  GPIO_InitStruct.Speed = GPIO_SPEED_FREQ_LOW;
  HAL_GPIO_Init(FLASH_SPI1_CS_GPIO_Port, &GPIO_InitStruct);

  /* EXTI interrupt init*/
  HAL_NVIC_SetPriority(EXTI9_5_IRQn, 3, 0);
  HAL_NVIC_EnableIRQ(EXTI9_5_IRQn);

  HAL_NVIC_SetPriority(EXTI15_10_IRQn, 3, 0);
  HAL_NVIC_EnableIRQ(EXTI15_10_IRQn);

}

void Error_Handler(void)
{
  __disable_irq();
  while (1)
  {
  }
}
